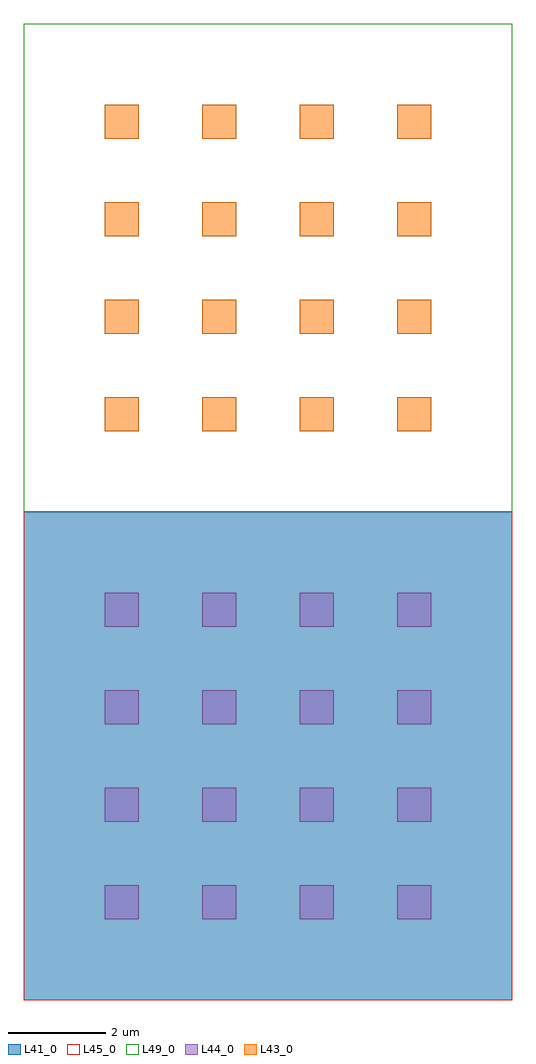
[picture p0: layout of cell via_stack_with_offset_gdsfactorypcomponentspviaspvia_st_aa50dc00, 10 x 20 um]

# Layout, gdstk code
import gdstk
lib = gdstk.Library(unit=1e-6, precision=1e-09)
def R(c, l, rs):  # rectangles x0, y0, x1, y1
    for r in rs: c.add(gdstk.rectangle(r[:2], r[2:], *l))
L41_0 = (41, 0)
L43_0 = (43, 0)
L44_0 = (44, 0)
L45_0 = (45, 0)
L49_0 = (49, 0)

compass_gdsfactorypcompo = lib.new_cell('compass_gdsfactorypcomponentspshapespcompass_S10_10_LM1_bbd90e5e')
R(compass_gdsfactorypcompo, L41_0, [(-5,-5,5,5)])

c_compass_gdsfactorypcompo = lib.new_cell('compass_gdsfactorypcomponentspshapespcompass_S10_10_LM1_5fd368c5')
R(c_compass_gdsfactorypcompo, L41_0, [(-5,-5,5,5)])

c_compass_gdsfactorypcompo_ = lib.new_cell('compass_gdsfactorypcomponentspshapespcompass_S10_10_LM2_ef1a02c5')
R(c_compass_gdsfactorypcompo_, L45_0, [(-5,-5,5,5)])

via_gdsfactorypcomponent = lib.new_cell('via_gdsfactorypcomponentspviaspvia_S0p7_0p7_E1_LVIA1_BL_0068d91e')
R(via_gdsfactorypcomponent, L44_0, [(-0.35,-0.35,0.35,0.35)])

c_compass_gdsfactorypcompo__ = lib.new_cell('compass_gdsfactorypcomponentspshapespcompass_S10_10_LMT_509e5c58')
R(c_compass_gdsfactorypcompo__, L49_0, [(-5,-5,5,5)])

c_compass_gdsfactorypcompo___ = lib.new_cell('compass_gdsfactorypcomponentspshapespcompass_S10_10_LMT_aa7c9a8d')
R(c_compass_gdsfactorypcompo___, L49_0, [(-5,-5,5,5)])

c_via_gdsfactorypcomponent = lib.new_cell('via_gdsfactorypcomponentspviaspvia_S0p7_0p7_E1_LVIA2_BL_c51b5ebb')
R(c_via_gdsfactorypcomponent, L43_0, [(-0.35,-0.35,0.35,0.35)])

c_compass_gdsfactorypcompo____ = lib.new_cell('compass_gdsfactorypcomponentspshapespcompass_S10_10_LM2_76817f2c')
R(c_compass_gdsfactorypcompo____, L45_0, [(-5,-5,5,5)])

via_stack_with_offset_gd = lib.new_cell('via_stack_with_offset_gdsfactorypcomponentspviaspvia_st_aa50dc00')
via_stack_with_offset_gd.add(gdstk.Reference(compass_gdsfactorypcompo, (0,5)))
via_stack_with_offset_gd.add(gdstk.Reference(c_compass_gdsfactorypcompo, (0,5)))
via_stack_with_offset_gd.add(gdstk.Reference(c_compass_gdsfactorypcompo_, (0,5)))
via_stack_with_offset_gd.add(gdstk.Reference(c_compass_gdsfactorypcompo, (0,5)))
r = gdstk.Reference(via_gdsfactorypcomponent, (-3,2)); r.repetition = gdstk.Repetition(4, 4, v1=(2,0), v2=(0,2)); via_stack_with_offset_gd.add(r)
via_stack_with_offset_gd.add(gdstk.Reference(c_compass_gdsfactorypcompo__, (0,15)))
via_stack_with_offset_gd.add(gdstk.Reference(c_compass_gdsfactorypcompo___, (0,15)))
r = gdstk.Reference(c_via_gdsfactorypcomponent, (-3,12)); r.repetition = gdstk.Repetition(4, 4, v1=(2,0), v2=(0,2)); via_stack_with_offset_gd.add(r)
via_stack_with_offset_gd.add(gdstk.Reference(c_compass_gdsfactorypcompo____, (0,15)))

lib.write_gds('via_stack_with_offset_gdsfactorypcomponentspviaspvia_st_aa50dc00.gds')
